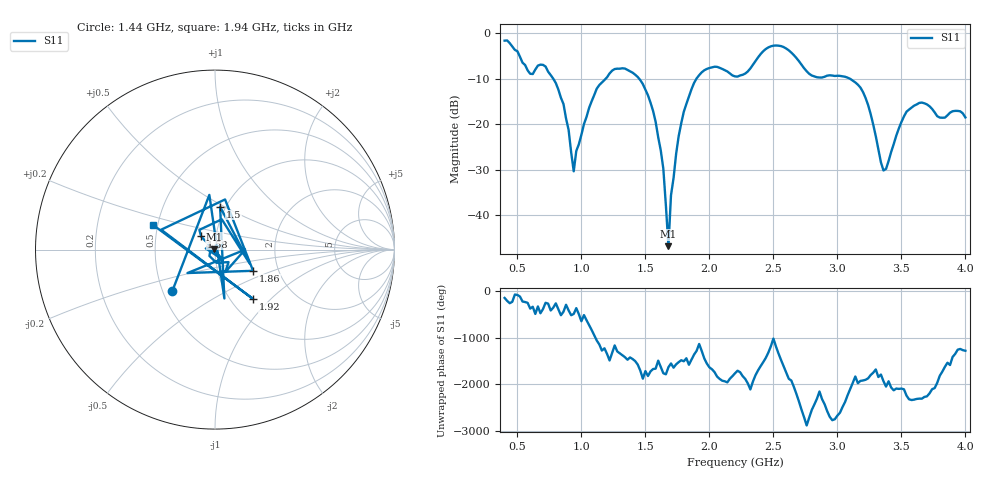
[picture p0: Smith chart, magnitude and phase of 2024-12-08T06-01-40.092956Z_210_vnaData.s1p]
!Created with skrf (http://scikit-rf.org).
# Hz S RI R 50.0
!freq ReS11 ImS11
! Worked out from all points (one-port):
!   181 points, 400 MHz to 4 GHz, reference 50 ohm
!   lowest |S11| = -46.9 dB at 1.68 GHz (marker M1), VSWR 1.01, Z = 49.6 + j0.0944 ohm
!   |S11| at or under -10 dB: 781 MHz to 1.188 GHz (407.4 MHz wide, 41.4 % of centre); 1.452 GHz to 1.898 GHz (445.9 MHz wide, 26.6 % of centre); 3.101 GHz to end of sweep
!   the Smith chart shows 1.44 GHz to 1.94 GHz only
!   S11 on the Smith chart (normalised r, x): 1.44 GHz: 0.56, -0.29; 1.5 GHz: 0.94, +0.48; 1.58 GHz: 0.85, +0.13; 1.86 GHz: 1.48, -0.37; 1.92 GHz: 1.26, -0.79; 1.94 GHz: 0.47, +0.15
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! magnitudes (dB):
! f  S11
! 400 MHz  -1.6
! 600 MHz  -8.9
! 720 MHz  -7.3
! 860 MHz  -15.5
! 940 MHz  -30.4
! 960 MHz  -25.9
! 1.12 GHz  -12.1
! 1.3 GHz  -7.8
! 1.44 GHz  -9.6
! 1.5 GHz  -12.3
! 1.58 GHz  -19.5
! 1.64 GHz  -29.8
! 1.68 GHz  -46.9
! 1.7 GHz  -35.6
! 1.76 GHz  -22.6
! 1.86 GHz  -12.3
! 1.92 GHz  -9.2
! 1.94 GHz  -8.6
! 2.2 GHz  -9.5
! 2.48 GHz  -2.8
! 2.66 GHz  -4.8
! 2.8 GHz  -9.3
! 3.1 GHz  -10.0
! 3.22 GHz  -14.2
! 3.36 GHz  -30.2
! 3.56 GHz  -16.8
! 3.66 GHz  -15.2
! 4 GHz  -18.5
